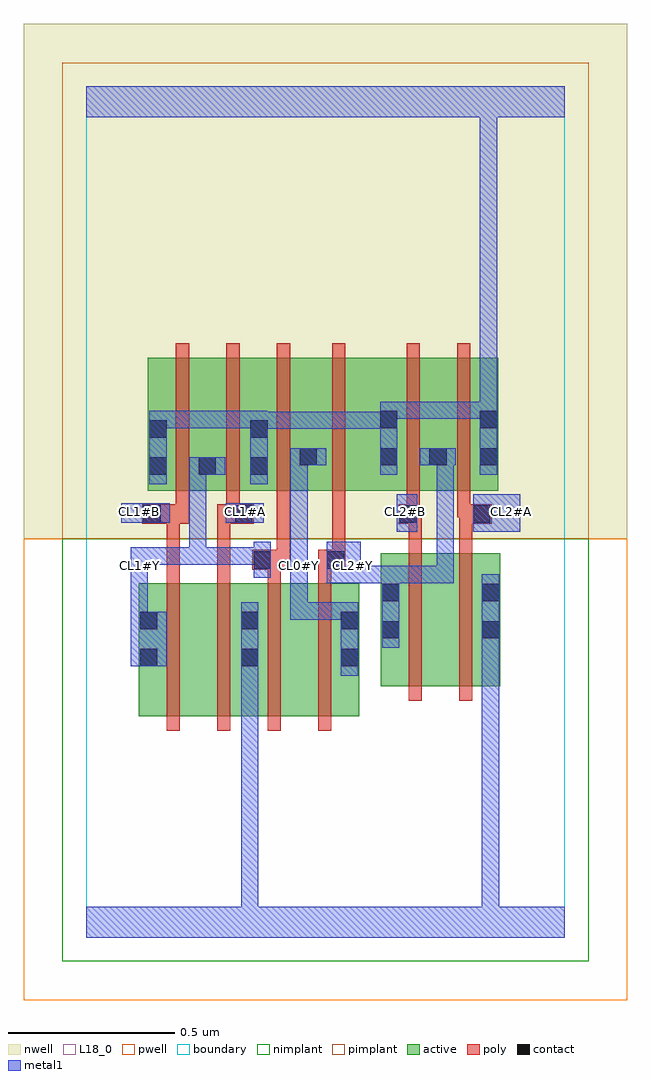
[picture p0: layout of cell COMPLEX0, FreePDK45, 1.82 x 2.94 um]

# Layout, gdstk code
import gdstk
lib = gdstk.Library(unit=1e-6, precision=1e-09)
def R(c, l, rs):  # rectangles x0, y0, x1, y1
    for r in rs: c.add(gdstk.rectangle(r[:2], r[2:], *l))
def A(c, l, x, y, w, h, nx, ny, dx, dy):  # array of equal rectangles
    R(c, l, [(x+i*dx, y+j*dy, x+i*dx+w, y+j*dy+h) for i in range(nx) for j in range(ny)])
active = (1, 0)
pwell = (2, 0)
nwell = (3, 0)
nimplant = (4, 0)
pimplant = (5, 0)
poly = (9, 0)
contact = (10, 0)
metal1 = (11, 0)
L18_0 = (18, 0)
boundary = (235, 0)

complex0 = lib.new_cell('COMPLEX0')
R(complex0, active, [(0.158,0.666,0.338,1.066), (0.338,0.666,0.522,1.066), (0.462,0.666,0.642,1.066), (0.642,0.666,0.822,1.066), (0.158,0.756,0.218,1.066), (0.462,0.756,0.522,0.984), (0.762,0.756,0.822,1.066), (0.886,0.756,0.946,1.156), (0.886,0.756,1.066,1.156), (1.066,0.756,1.246,1.156), (1.186,0.756,1.246,1.156), (0.186,1.344,0.246,1.644), (0.186,1.344,0.394,1.744), (0.334,1.344,0.55,1.744), (0.49,1.344,0.698,1.744), (0.638,1.344,0.94,1.744), (0.88,1.344,1.088,1.744), (1.028,1.344,1.24,1.744), (1.18,1.344,1.24,1.644), (0.334,1.388,0.394,1.644), (0.49,1.388,0.55,1.644), (0.638,1.416,0.698,1.644), (0.88,1.416,0.94,1.644), (1.028,1.416,1.088,1.644)])
R(complex0, pwell, [(-0.188,-0.188,1.628,1.2)])
R(complex0, nwell, [(-0.188,1.2,1.628,2.748)])
R(complex0, nimplant, [(-0.072,-0.072,1.512,1.2)])
R(complex0, pimplant, [(-0.072,1.2,1.512,2.632)])
A(complex0, poly, 0.242, 0.622, 0.04, 0.488, 4, 1, 0.152, 0)
A(complex0, poly, 0.27, 1.3, 0.04, 0.488, 3, 1, 0.152, 0)
R(complex0, poly, [(0.97,0.712,1.01,1.2), (1.122,0.712,1.162,1.2), (0.242,1.07,0.282,1.284), (0.394,1.07,0.434,1.284), (0.546,1.07,0.586,1.146), (0.698,1.07,0.738,1.146), (0.5,1.106,0.61,1.166), (0.698,1.106,0.78,1.166), (0.57,1.126,0.61,1.166), (0.57,1.126,0.614,1.166), (0.574,1.126,0.614,1.34), (0.74,1.126,0.78,1.166), (0.74,1.126,0.78,1.166), (0.74,1.126,0.78,1.34), (0.97,1.16,1.01,1.284), (1.122,1.16,1.162,1.284), (0.168,1.244,0.31,1.304), (0.242,1.244,0.282,1.284), (0.242,1.244,0.282,1.284), (0.394,1.244,0.434,1.284), (0.394,1.244,0.434,1.284), (0.394,1.244,0.504,1.304), (0.94,1.244,1.004,1.304), (0.964,1.244,1.004,1.284), (0.964,1.244,1.01,1.284), (1.122,1.244,1.22,1.304), (0.27,1.264,0.31,1.34), (0.422,1.264,0.462,1.34), (0.964,1.264,1.004,1.34), (1.116,1.264,1.156,1.34), (1.116,1.264,1.162,1.304), (1.122,1.264,1.162,1.304), (0.74,1.3,0.78,1.788), (0.964,1.3,1.004,1.788), (1.116,1.3,1.156,1.788)])
R(complex0, contact, [(0.162,0.816,0.214,0.868), (0.466,0.816,0.518,0.868), (0.766,0.816,0.818,0.868), (0.89,0.9,0.942,0.952), (1.19,0.9,1.242,0.952), (0.162,0.928,0.214,0.98), (0.466,0.928,0.518,0.98), (0.766,0.928,0.818,0.98), (0.89,1.012,0.942,1.064), (1.19,1.012,1.242,1.064), (0.504,1.11,0.556,1.162), (0.724,1.11,0.776,1.162), (0.172,1.248,0.224,1.3), (0.448,1.248,0.5,1.3), (0.944,1.248,0.996,1.3), (1.164,1.248,1.216,1.3), (0.19,1.392,0.242,1.444), (0.338,1.392,0.39,1.444), (0.494,1.392,0.546,1.444), (0.642,1.42,0.694,1.472), (0.884,1.42,0.936,1.472), (1.032,1.42,1.084,1.472), (1.184,1.42,1.236,1.472), (0.19,1.504,0.242,1.556), (0.494,1.504,0.546,1.556), (0.884,1.532,0.936,1.584), (1.184,1.532,1.236,1.584)])
R(complex0, metal1, [(0,0,1.44,0.092), (0.466,0.04,0.518,0.092), (0.466,0.04,0.518,0.092), (0.466,0.04,0.518,0.092), (0.466,0.04,0.518,0.092), (0.466,0.04,0.518,0.092), (0.466,0.04,0.518,0.092), (0.466,0.04,0.518,0.092), (0.466,0.04,0.518,0.092), (0.466,0.04,0.518,0.092), (0.466,0.04,0.518,0.092), (0.466,0.04,0.518,0.092), (0.466,0.04,0.518,0.092), (0.466,0.04,0.518,0.84), (1.19,0.04,1.242,0.092), (1.19,0.04,1.242,0.092), (1.19,0.04,1.242,0.924), (0.466,0.788,0.518,1.008), (0.766,0.788,0.818,1.008), (0.134,0.816,0.242,0.98), (0.89,0.872,0.942,1.092), (1.19,0.872,1.242,0.924), (1.19,0.872,1.242,0.924), (1.19,0.872,1.242,0.924), (1.19,0.872,1.242,0.924), (1.19,0.872,1.242,0.924), (1.19,0.872,1.242,0.924), (1.19,0.872,1.242,0.924), (1.19,0.872,1.242,0.924), (1.19,0.872,1.242,0.924), (1.19,0.872,1.242,0.924), (1.19,0.872,1.242,1.092), (0.134,0.928,0.186,1.118), (0.614,0.956,0.666,1.008), (0.614,0.956,0.666,1.008), (0.614,0.956,0.666,1.008), (0.614,0.956,0.818,1.008), (0.614,0.956,0.666,1.118), (0.89,1.04,0.942,1.118), (0.134,1.066,0.186,1.174), (0.614,1.066,0.666,1.174), (0.724,1.066,0.826,1.19), (0.774,1.066,0.826,1.118), (0.774,1.066,0.826,1.118), (0.774,1.066,0.942,1.118), (0.89,1.066,0.942,1.118), (0.89,1.066,0.942,1.118), (0.89,1.066,0.942,1.118), (0.89,1.066,1.106,1.118), (1.054,1.066,1.106,1.118), (1.054,1.066,1.106,1.472), (0.504,1.082,0.556,1.19), (0.134,1.122,0.186,1.174), (0.134,1.122,0.186,1.174), (0.134,1.122,0.362,1.174), (0.31,1.122,0.362,1.174), (0.31,1.122,0.362,1.174), (0.31,1.122,0.362,1.174), (0.31,1.122,0.556,1.174), (0.31,1.122,0.362,1.444), (0.504,1.122,0.556,1.174), (0.504,1.122,0.556,1.174), (0.614,1.122,0.666,1.472), (0.934,1.22,0.996,1.334), (1.164,1.22,1.306,1.334), (0.106,1.248,0.252,1.306), (0.42,1.248,0.534,1.306), (0.19,1.364,0.242,1.584), (0.494,1.364,0.546,1.584), (0.31,1.392,0.362,1.444), (0.31,1.392,0.362,1.444), (0.31,1.392,0.418,1.444), (0.884,1.392,0.936,1.612), (1.184,1.392,1.236,1.612), (0.614,1.42,0.666,1.472), (0.614,1.42,0.666,1.472), (0.614,1.42,0.722,1.472), (1.004,1.42,1.112,1.472), (1.054,1.42,1.106,1.472), (1.054,1.42,1.106,1.472), (0.494,1.53,0.546,1.582), (0.494,1.53,0.546,1.582), (0.494,1.53,0.666,1.582), (0.614,1.53,0.666,1.582), (0.614,1.53,0.666,1.582), (0.614,1.53,0.666,1.582), (0.614,1.53,0.818,1.582), (0.766,1.53,0.818,1.582), (0.766,1.53,0.936,1.582), (0.19,1.532,0.242,1.584), (0.19,1.532,0.242,1.584), (0.19,1.532,0.408,1.584), (0.356,1.532,0.408,1.584), (0.356,1.532,0.408,1.584), (0.356,1.532,0.408,1.584), (0.356,1.532,0.546,1.584), (0.884,1.56,0.936,1.612), (0.884,1.56,0.936,1.612), (0.884,1.56,1.052,1.612), (1,1.56,1.052,1.612), (1,1.56,1.236,1.612), (1.184,1.56,1.236,1.612), (1.184,1.56,1.236,1.612), (1.184,1.56,1.236,1.612), (1.184,1.56,1.236,1.612), (1.184,1.56,1.236,1.612), (1.184,1.56,1.236,1.612), (1.184,1.56,1.236,1.612), (1.184,1.56,1.236,1.612), (1.184,1.56,1.236,1.612), (1.184,1.56,1.236,1.612), (1.184,1.56,1.236,2.52), (0,2.468,1.44,2.56), (1.184,2.468,1.236,2.52), (1.184,2.468,1.236,2.52), (1.184,2.468,1.236,2.52), (1.184,2.468,1.236,2.52), (1.184,2.468,1.236,2.52), (1.184,2.468,1.236,2.52), (1.184,2.468,1.236,2.52), (1.184,2.468,1.236,2.52)])
R(complex0, L18_0, [(0,0,1.44,0.092), (0.466,0.04,0.518,0.092), (0.466,0.04,0.518,0.092), (0.466,0.04,0.518,0.092), (0.466,0.04,0.518,0.092), (0.466,0.04,0.518,0.092), (0.466,0.04,0.518,0.092), (0.466,0.04,0.518,0.092), (0.466,0.04,0.518,0.092), (0.466,0.04,0.518,0.092), (0.466,0.04,0.518,0.092), (0.466,0.04,0.518,0.092), (0.466,0.04,0.518,0.092), (0.466,0.04,0.518,0.84), (1.19,0.04,1.242,0.092), (1.19,0.04,1.242,0.092), (1.19,0.04,1.242,0.924), (0.466,0.788,0.518,1.008), (0.766,0.788,0.818,1.008), (0.134,0.816,0.242,0.98), (0.89,0.872,0.942,1.092), (1.19,0.872,1.242,1.092), (1.19,0.872,1.242,0.924), (1.19,0.872,1.242,0.924), (1.19,0.872,1.242,0.924), (1.19,0.872,1.242,0.924), (1.19,0.872,1.242,0.924), (1.19,0.872,1.242,0.924), (1.19,0.872,1.242,0.924), (1.19,0.872,1.242,0.924), (1.19,0.872,1.242,0.924), (1.19,0.872,1.242,0.924), (0.134,0.928,0.186,1.118), (0.614,0.956,0.666,1.008), (0.614,0.956,0.666,1.008), (0.614,0.956,0.666,1.008), (0.614,0.956,0.666,1.118), (0.614,0.956,0.818,1.008), (0.89,1.04,0.942,1.118), (0.134,1.066,0.186,1.174), (0.614,1.066,0.666,1.174), (0.724,1.066,0.826,1.19), (0.774,1.066,0.826,1.118), (0.774,1.066,0.826,1.118), (0.774,1.066,0.942,1.118), (0.89,1.066,0.942,1.118), (0.89,1.066,0.942,1.118), (0.89,1.066,0.942,1.118), (0.89,1.066,1.106,1.118), (1.054,1.066,1.106,1.118), (1.054,1.066,1.106,1.472), (0.504,1.082,0.556,1.19), (0.134,1.094,0.186,1.146), (0.614,1.094,0.666,1.146), (0.774,1.094,0.826,1.146), (0.134,1.122,0.186,1.174), (0.134,1.122,0.186,1.174), (0.134,1.122,0.362,1.174), (0.31,1.122,0.362,1.174), (0.31,1.122,0.362,1.174), (0.31,1.122,0.362,1.174), (0.31,1.122,0.362,1.444), (0.31,1.122,0.556,1.174), (0.504,1.122,0.556,1.174), (0.504,1.122,0.556,1.174), (0.614,1.122,0.666,1.472), (0.934,1.22,0.996,1.334), (1.164,1.22,1.306,1.334), (0.106,1.248,0.252,1.306), (0.42,1.248,0.534,1.306), (0.134,1.254,0.186,1.306), (0.454,1.254,0.506,1.306), (0.934,1.254,0.986,1.306), (1.254,1.254,1.306,1.306), (0.19,1.364,0.242,1.584), (0.494,1.364,0.546,1.584), (0.31,1.392,0.362,1.444), (0.31,1.392,0.362,1.444), (0.31,1.392,0.418,1.444), (0.884,1.392,0.936,1.612), (1.184,1.392,1.236,1.612), (0.614,1.42,0.666,1.472), (0.614,1.42,0.666,1.472), (0.614,1.42,0.722,1.472), (1.004,1.42,1.112,1.472), (1.054,1.42,1.106,1.472), (1.054,1.42,1.106,1.472), (0.494,1.53,0.546,1.582), (0.494,1.53,0.546,1.582), (0.494,1.53,0.666,1.582), (0.614,1.53,0.666,1.582), (0.614,1.53,0.666,1.582), (0.614,1.53,0.666,1.582), (0.614,1.53,0.818,1.582), (0.766,1.53,0.818,1.582), (0.766,1.53,0.936,1.582), (0.19,1.532,0.242,1.584), (0.19,1.532,0.242,1.584), (0.19,1.532,0.408,1.584), (0.356,1.532,0.408,1.584), (0.356,1.532,0.408,1.584), (0.356,1.532,0.408,1.584), (0.356,1.532,0.546,1.584), (0.884,1.56,0.936,1.612), (0.884,1.56,0.936,1.612), (0.884,1.56,1.052,1.612), (1,1.56,1.052,1.612), (1,1.56,1.236,1.612), (1.184,1.56,1.236,1.612), (1.184,1.56,1.236,1.612), (1.184,1.56,1.236,1.612), (1.184,1.56,1.236,1.612), (1.184,1.56,1.236,1.612), (1.184,1.56,1.236,1.612), (1.184,1.56,1.236,1.612), (1.184,1.56,1.236,1.612), (1.184,1.56,1.236,1.612), (1.184,1.56,1.236,1.612), (1.184,1.56,1.236,2.52), (0,2.468,1.44,2.56), (1.184,2.468,1.236,2.52), (1.184,2.468,1.236,2.52), (1.184,2.468,1.236,2.52), (1.184,2.468,1.236,2.52), (1.184,2.468,1.236,2.52), (1.184,2.468,1.236,2.52), (1.184,2.468,1.236,2.52), (1.184,2.468,1.236,2.52)])
R(complex0, boundary, [(0,0,1.44,2.56)])
complex0.add(gdstk.Label('CL0#Y', (0.64,1.12), layer=11, texttype=0))
complex0.add(gdstk.Label('CL1#A', (0.48,1.28), layer=11, texttype=0))
complex0.add(gdstk.Label('CL1#B', (0.16,1.28), layer=11, texttype=0))
complex0.add(gdstk.Label('CL1#Y', (0.16,1.12), layer=11, texttype=0))
complex0.add(gdstk.Label('CL2#A', (1.28,1.28), layer=11, texttype=0))
complex0.add(gdstk.Label('CL2#B', (0.96,1.28), layer=11, texttype=0))
complex0.add(gdstk.Label('CL2#Y', (0.8,1.12), layer=11, texttype=0))

lib.write_gds('COMPLEX0.gds')
